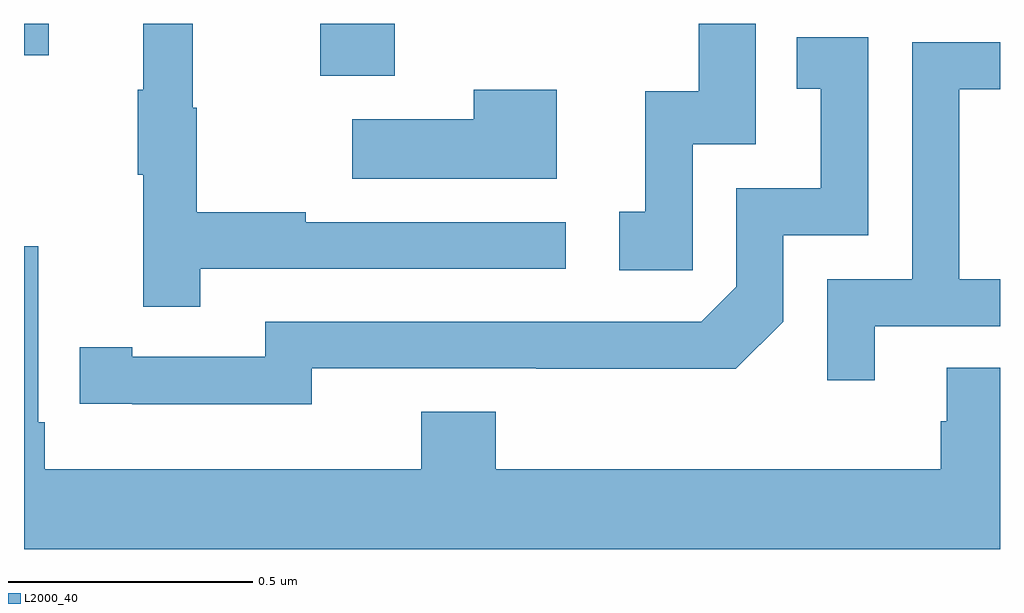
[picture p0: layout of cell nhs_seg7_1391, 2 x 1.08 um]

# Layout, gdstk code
import gdstk
lib = gdstk.Library(unit=1e-6, precision=1e-09)
def R(c, l, rs):  # rectangles x0, y0, x1, y1
    for r in rs: c.add(gdstk.rectangle(r[:2], r[2:], *l))
def P(c, l, *ps):  # polygons
    for p in ps: c.add(gdstk.Polygon(p, *l))
L2000_40 = (2000, 40)

nhs_seg7_1391 = lib.new_cell('nhs_seg7_1391')
R(nhs_seg7_1391, L2000_40, [(130.607,1026.894,130.76,1027), (130,1026.936,130.051,1027)])
P(nhs_seg7_1391, L2000_40, [(131.37,1026.753),(131.499,1026.753),(131.499,1027),(131.383,1027),(131.383,1026.862),(131.273,1026.862),(131.273,1026.615),(131.22,1026.615),(131.22,1026.495),(131.37,1026.495)],
  [(130.361,1026.498),(131.11,1026.498),(131.11,1026.594),(130.577,1026.594),(130.577,1026.614),(130.354,1026.614),(130.354,1026.828),(130.346,1026.828),(130.346,1027),(130.244,1027),(130.244,1026.865),(130.233,1026.865),(130.233,1026.691),(130.244,1026.691),(130.244,1026.42),(130.361,1026.42)],
  [(130.59,1026.294),(131.05,1026.294),(131.05,1026.293),(131.458,1026.293),(131.556,1026.39),(131.556,1026.567),(131.73,1026.567),(131.73,1026.973),(131.584,1026.973),(131.584,1026.867),(131.633,1026.867),(131.633,1026.663),(131.46,1026.663),(131.46,1026.462),(131.388,1026.39),(130.494,1026.39),(130.494,1026.318),(130.222,1026.318),(130.222,1026.338),(130.114,1026.338),(130.114,1026.222),(130.222,1026.222),(130.222,1026.221),(130.59,1026.221)],
  [(131.743,1026.381),(132,1026.381),(132,1026.477),(131.916,1026.477),(131.916,1026.866),(132,1026.866),(132,1026.963),(131.82,1026.963),(131.82,1026.477),(131.646,1026.477),(131.646,1026.27),(131.743,1026.27)],
  [(131.092,1026.865),(130.922,1026.865),(130.922,1026.805),(130.673,1026.805),(130.673,1026.683),(131.092,1026.683)],
  [(132,1026.296),(131.891,1026.296),(131.891,1026.186),(131.879,1026.186),(131.879,1026.088),(130.967,1026.088),(130.967,1026.205),(130.814,1026.205),(130.814,1026.088),(130.043,1026.088),(130.043,1026.184),(130.029,1026.184),(130.029,1026.544),(130,1026.544),(130,1025.924),(132,1025.924)])

lib.write_gds('nhs_seg7_1391.gds')
